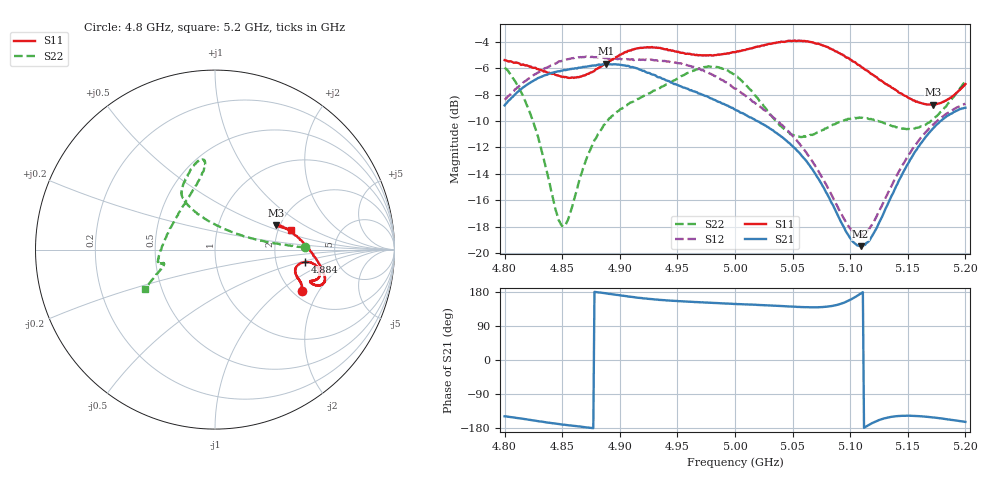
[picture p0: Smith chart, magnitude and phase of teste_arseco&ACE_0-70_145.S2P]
! Network Analyzer HP8722D
! Hewlett-Packard
! Data name: Linha & Wilkinson
! Saver's name: Rodrigo Anjos
! Comments: Teste da utilização de aquisição
! continua pelo VNA HP8722D
! Time and date: 8/5/2025 13:58
!  Frequency  S11  S21  S12  S22
# HZ  S  MA R 50
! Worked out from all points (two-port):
!   401 points, 4.8 GHz to 5.2 GHz, reference 50 ohm
!   highest |S21| = -5.68 dB at 4.888 GHz (marker M1); lowest = -19.5 dB at 5.109 GHz (marker M2)
!   |S21| within 3 dB of the highest: 4.801 GHz to 4.989 GHz (187.5 MHz wide, 3.83 % of centre)
!   lowest |S11| = -8.8 dB at 5.172 GHz (marker M3), VSWR 2.15, Z = 95 + j29.8 ohm
!   |S11| at or under -10 dB: nowhere
!   |S22| runs from -18.0 to -5.9 dB; largest |S21 - S12| = 1.1
!   S11 on the Smith chart (normalised r, x): 4.8 GHz: 2.23, -1.45; 4.884 GHz: 2.95, -0.56; 5.2 GHz: 2.33, +0.64
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4.8e9  0.537 -25.5  0.3622 -148.6  0.3807 10.8  0.5026 1.6
4.812e9  0.5233 -22.4  0.4092 -153.4  0.4257 8.9  0.4252 2.7
4.823e9  0.5075 -20.5  0.4439 -158.4  0.463 7.5  0.33 6.1
4.849e9  0.4657 -16.1  0.4897 -169.8  0.5316 3.3  0.1282 57.7
4.855e9  0.4606 -14.3  0.4948 -172.0  0.5418 2.2  0.1337 84.2
4.867e9  0.4664 -11.1  0.5036 -176.3  0.55 0.7  0.2013 112.4
4.884e9  0.509 -7.9  0.5156 177.5  0.548 -0.7  0.2937 121.4
4.888e9  0.5217 -7.7  0.52 175.8  0.547 -0.8  0.3113 121.8
4.913e9  0.5919 -10.9  0.5028 165.4  0.5394 -0.1  0.3781 119.5
4.934e9  0.5975 -15.6  0.4623 158.6  0.537 -1.2  0.4195 113.2
4.975e9  0.5588 -18.5  0.393 151.5  0.4869 -5.1  0.5062 99.5
5e9  0.5756 -19.4  0.3493 147.9  0.419 -4.8  0.4729 97.1
5.019e9  0.6031 -19.4  0.3165 145.4  0.3644 -2.4  0.388 104.3
5.046e9  0.6356 -17.1  0.2629 141.5  0.2903 3.6  0.2878 134.3
5.067e9  0.6273 -13.5  0.2082 139.2  0.2229 9.5  0.28 164.5
5.098e9  0.5484 -2.8  0.1179 155.9  0.1275 36.8  0.3221 -170.2
5.109e9  0.5088 2.1  0.1063 175.0  0.1169 58.3  0.3253 -167.3
5.118e9  0.4766 6.6  0.1144 -168.4  0.1266 75.9  0.322 -165.9
5.134e9  0.4292 14.4  0.158 -151.0  0.173 94.8  0.3063 -165.5
5.154e9  0.3798 20.8  0.2328 -147.4  0.2477 101.7  0.2943 -164.3
5.172e9  0.3645 21.9  0.2966 -151.7  0.3067 102.8  0.3216 -159.9
5.2e9  0.436 14.8  0.3548 -163.3  0.3675 103.2  0.4471 -150.6
